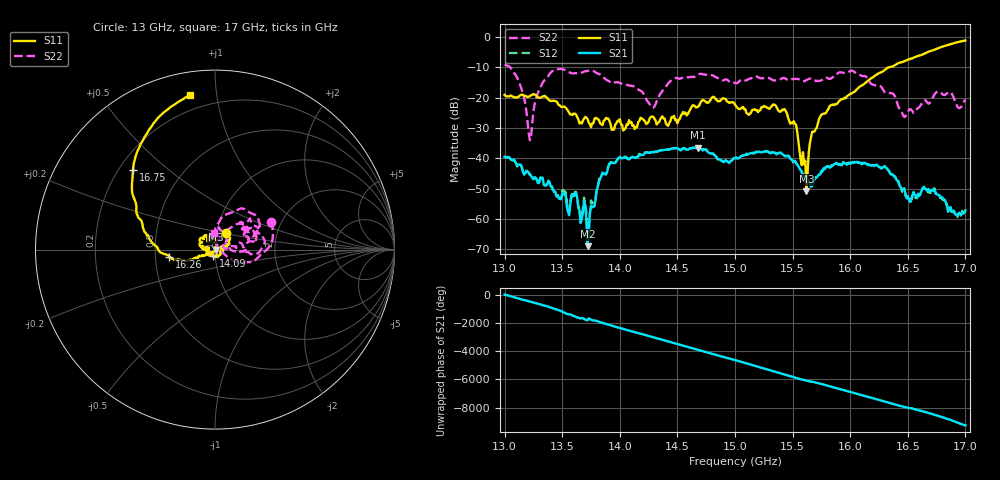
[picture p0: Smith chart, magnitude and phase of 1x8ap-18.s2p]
!Keysight Technologies,P9374A,MY57211807,A.19.30.04
!Date: Friday, May 08, 2026 15:41:06
!Correction: S11(C  2-Port  )
!S21(C  2-Port  )
!S12(C  2-Port  )
!S22(C  2-Port  )
!S2P File: Measurements: S11, S21, S12, S22:
# Hz S  dB  R 50
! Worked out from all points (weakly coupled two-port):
!   401 points, 13 GHz to 17 GHz, reference 50 ohm
!   highest |S21| = -36.45 dB at 14.68 GHz (marker M1); lowest = -68.9 dB at 13.72 GHz (marker M2)
!   lowest |S11| = -50.9 dB at 15.62 GHz (marker M3), VSWR 1.01, Z = 50.3 + j0.0265 ohm
!   |S11| at or under -10 dB: start of sweep to 16.34 GHz
!   |S22| runs from -34.1 to -9.1 dB; largest |S21 - S12| = 0.00085
!   S11 on the Smith chart (normalised r, x): 13 GHz: 1.11, +0.21; 14.09 GHz: 0.98, -0.07; 16.26 GHz: 0.59, -0.05; 16.75 GHz: 0.26, +0.38; 17 GHz: 0.12, +0.84
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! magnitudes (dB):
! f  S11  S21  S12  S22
! 13 GHz  -19.1  -39.5  -39.7  -9.1
! 13.13 GHz  -19.3  -42.0  -42.1  -15.4
! 13.22 GHz  -19.5  -45.3  -45.4  -34.1
! 13.29 GHz  -19.9  -48.2  -48.3  -18.4
! 13.4 GHz  -21.0  -49.3  -49.0  -11.7
! 13.67 GHz  -28.5  -60.0  -59.6  -11.8
! 13.72 GHz  -27.0  -68.9  -67.5  -11.2
! 13.84 GHz  -28.8  -45.8  -45.8  -12.7
! 14.09 GHz  -28.3  -39.9  -40.1  -16.1
! 14.34 GHz  -28.1  -37.5  -37.5  -19.5
! 14.68 GHz  -23.0  -36.4  -36.6  -12.4
! 15 GHz  -22.3  -39.9  -39.9  -15.2
! 15.43 GHz  -23.8  -39.2  -39.3  -13.6
! 15.52 GHz  -28.7  -40.8  -40.8  -13.8
! 15.62 GHz  -50.9  -46.6  -47.2  -14.2
! 15.67 GHz  -31.2  -49.1  -49.1  -13.9
! 15.87 GHz  -22.2  -41.8  -41.8  -12.6
! 16.26 GHz  -11.8  -43.0  -42.9  -16.2
! 16.34 GHz  -10.0  -44.3  -44.5  -18.5
! 16.47 GHz  -8.0  -49.9  -50.2  -26.4
! 16.75 GHz  -3.9  -51.7  -51.6  -18.2
! 17 GHz  -1.2  -57.1  -57.8  -20.6
